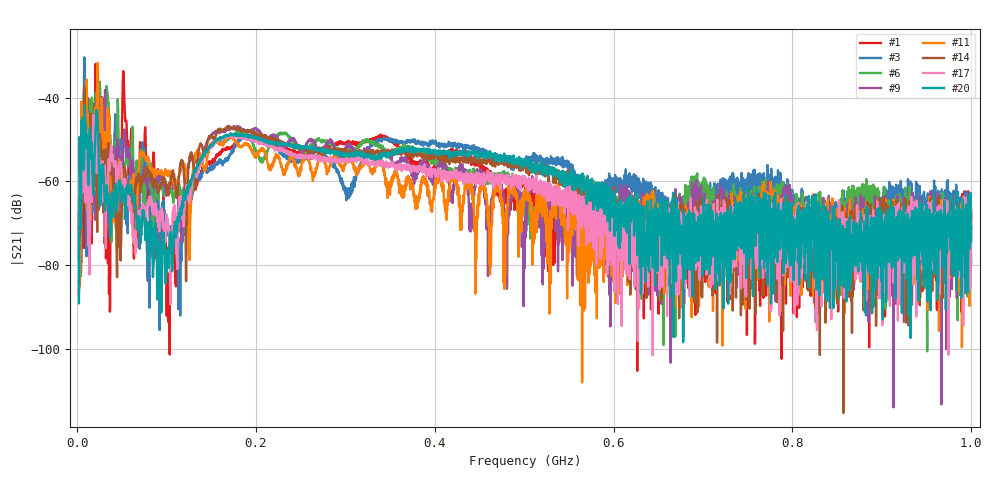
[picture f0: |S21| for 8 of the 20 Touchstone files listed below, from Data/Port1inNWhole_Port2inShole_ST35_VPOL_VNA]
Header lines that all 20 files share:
!Keysight Technologies N9923A: A.12.45
!Timezone: (UTC+08:00) Kuala Lumpur, Singapore
!Model: N9923A
!Serial: MY61181427
!GPS Latitude:
!GPS Longitude:
!GPS TimeStamp: 0001-01-01 00:00:00Z
!GPS Seconds Since Last Read: 0
!Correction: S11(ON U)S21(ON U)S12(ON U)S22(ON U)
!S2P File: Measurements:S11,S21,S12,S22:
# Hz S DB R 50
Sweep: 2 MHz to 1 GHz
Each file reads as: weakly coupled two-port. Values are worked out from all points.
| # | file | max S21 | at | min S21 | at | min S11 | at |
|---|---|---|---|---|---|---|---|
| 1 | Aug4_vpol_down_1m.s2p | -31.95 dB | 20.71 MHz | -105.2 dB | 626.5 MHz | -48.0 dB | 184.9 MHz |
| 2 | Aug4_vpol_down_6m.s2p | -35.60 dB | 21.21 MHz | -88.1 dB | 879.7 MHz | -37.3 dB | 183.1 MHz |
| 3 | Aug4_vpol_down_8m.s2p | -30.38 dB | 7.988 MHz | -95.4 dB | 92.32 MHz | -37.6 dB | 181.6 MHz |
| 4 | Aug4_vpol_down_9m.s2p | -32.05 dB | 7.988 MHz | -108.5 dB | 982 MHz | -37.3 dB | 183.1 MHz |
| 5 | Aug4_vpol_down_10m.s2p | -34.69 dB | 7.739 MHz | -101.8 dB | 774.2 MHz | -54.5 dB | 183.1 MHz |
| 6 | Aug4_vpol_down_11m.s2p | -36.19 dB | 25.2 MHz | -100.5 dB | 950.8 MHz | -55.5 dB | 186.4 MHz |
| 7 | Aug4_vpol_down_14m.s2p | -38.10 dB | 25.2 MHz | -103.7 dB | 2 MHz | -47.0 dB | 178.4 MHz |
| 8 | Aug4_vpol_down_15m.s2p | -34.54 dB | 22.96 MHz | -103.4 dB | 922.4 MHz | -44.8 dB | 178.4 MHz |
| 9 | Aug4_vpol_down_16m.s2p | -38.17 dB | 31.19 MHz | -113.9 dB | 913.2 MHz | -47.3 dB | 178.4 MHz |
| 10 | Aug4_vpol_down_17m.s2p | -33.97 dB | 22.96 MHz | -109.0 dB | 905.9 MHz | -43.0 dB | 186.4 MHz |
| 11 | Aug4_vpol_down_18m.s2p | -31.71 dB | 22.96 MHz | -107.9 dB | 564.9 MHz | -44.4 dB | 183.1 MHz |
| 12 | Aug4_vpol_down_21m.s2p | -37.35 dB | 8.736 MHz | -94.2 dB | 678.6 MHz | -45.6 dB | 444.9 MHz |
| 13 | Aug4_vpol_down_22m.s2p | -35.68 dB | 8.487 MHz | -108.6 dB | 688.4 MHz | -47.3 dB | 183.1 MHz |
| 14 | Aug4_vpol_down_23m.s2p | -37.52 dB | 8.238 MHz | -115.2 dB | 857.3 MHz | -41.1 dB | 461.6 MHz |
| 15 | Aug4_vpol_down_24m.s2p | -38.72 dB | 7.988 MHz | -97.0 dB | 974.1 MHz | -43.1 dB | 461.6 MHz |
| 16 | Aug4_vpol_down_27m.s2p | -43.21 dB | 18.22 MHz | -100.4 dB | 889 MHz | -43.4 dB | 186.4 MHz |
| 17 | Aug4_vpol_down_28m.s2p | -44.09 dB | 18.22 MHz | -101.5 dB | 644 MHz | -45.5 dB | 183.1 MHz |
| 18 | Aug4_vpol_down_31m.s2p | -41.05 dB | 6.74 MHz | -104.7 dB | 937.6 MHz | -46.0 dB | 183.1 MHz |
| 19 | Aug4_vpol_down_36m.s2p | -40.86 dB | 22.71 MHz | -104.5 dB | 990.8 MHz | -43.8 dB | 183.1 MHz |
| 20 | Aug4_vpol_down_37m.s2p | -41.87 dB | 8.487 MHz | -98.3 dB | 677.9 MHz | -45.5 dB | 183.1 MHz |
